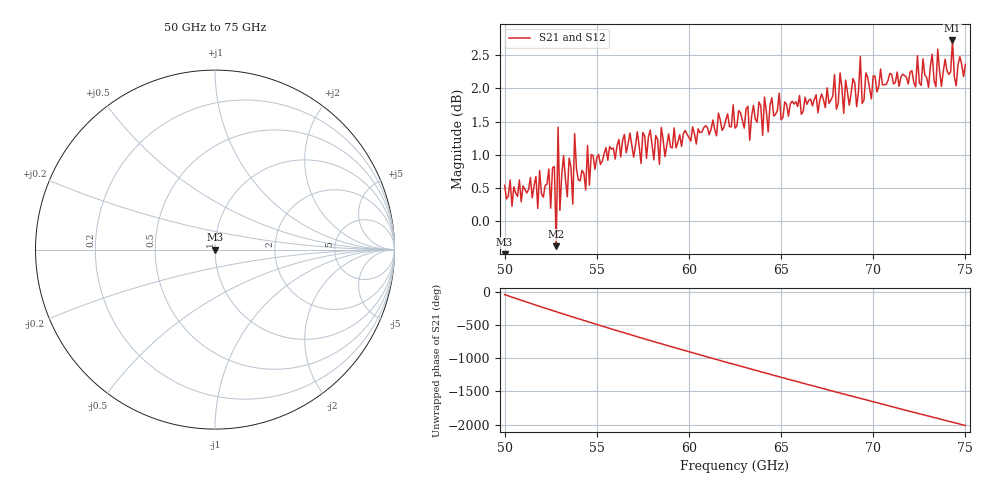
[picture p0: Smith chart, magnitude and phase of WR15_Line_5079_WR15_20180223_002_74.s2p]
# GHZ S RI R 50
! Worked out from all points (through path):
!   251 points, 50 GHz to 75 GHz, reference 50 ohm
!   highest |S21| = 2.72 dB at 74.3 GHz (marker M1); lowest = -0.4 dB at 52.8 GHz (marker M2)
!   lowest |S11| = - dB at 50 GHz (marker M3), VSWR 1.00, Z = 50 - j9.4e-16 ohm
!   |S11| at or under -10 dB: start of sweep to end of sweep
!   |S22| runs from - to - dB; largest |S21 - S12| = 1e-14
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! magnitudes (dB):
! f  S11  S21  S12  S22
! 50 GHz  -  0.5  0.5  -
! 52.4 GHz  -  0.8  0.8  -
! 52.5 GHz  -  0.2  0.2  -
! 52.7 GHz  -  0.8  0.8  -
! 52.8 GHz  -  -0.4  -0.4  -
! 52.9 GHz  -  1.4  1.4  -
! 53 GHz  -  0.2  0.2  -
! 53.2 GHz  -  1.0  1.0  -
! 53.7 GHz  -  0.3  0.3  -
! 53.8 GHz  -  1.3  1.3  -
! 54.2 GHz  -  0.8  0.8  -
! 58.4 GHz  -  0.9  0.9  -
! 58.5 GHz  -  1.4  1.4  -
! 62.5 GHz  -  1.4  1.4  -
! 66.7 GHz  -  1.7  1.7  -
! 70.9 GHz  -  2.2  2.2  -
! 73.4 GHz  -  2.0  2.0  -
! 73.5 GHz  -  2.6  2.6  -
! 73.7 GHz  -  2.0  2.0  -
! 74.3 GHz  -  2.7  2.7  -
! 74.5 GHz  -  2.0  2.0  -
! 75 GHz  -  2.4  2.4  -
